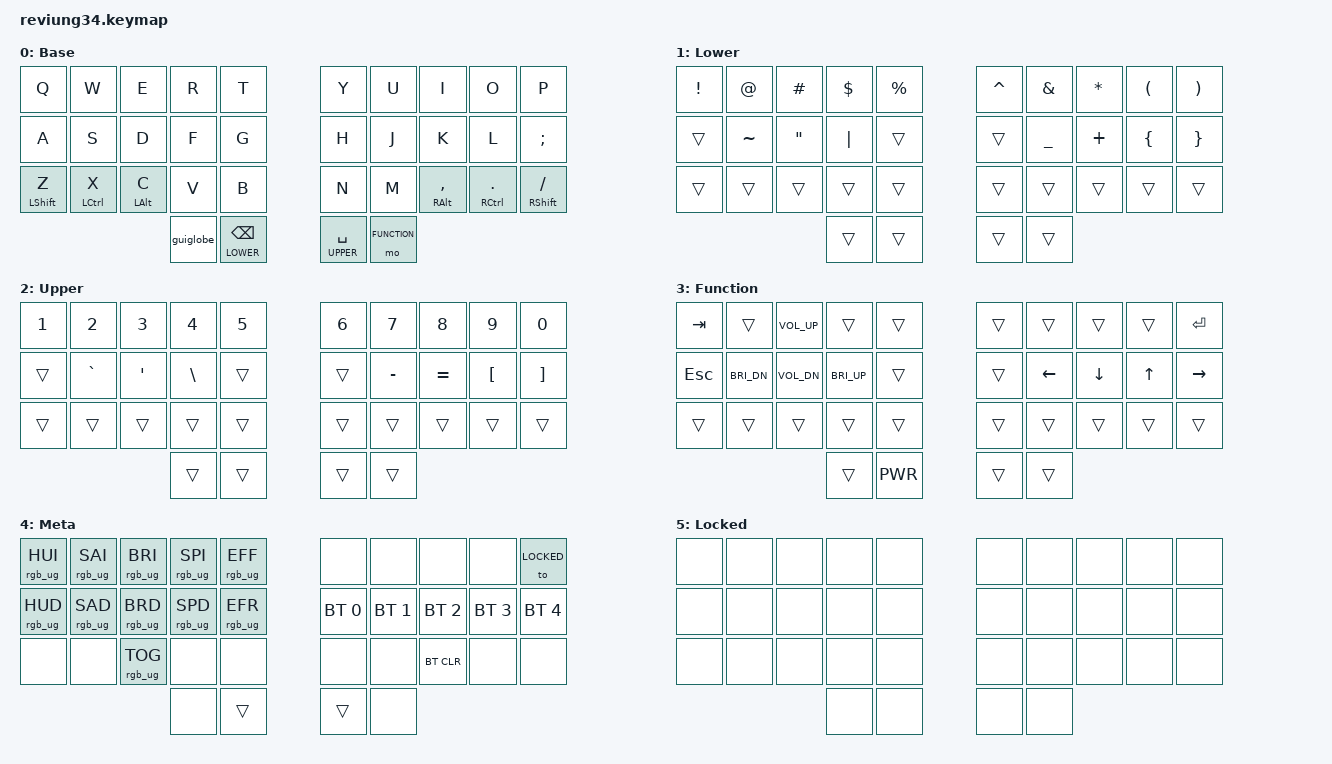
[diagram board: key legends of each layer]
#include <dt-bindings/zmk/bt.h>
#include <dt-bindings/zmk/keys.h>
#include <dt-bindings/zmk/rgb.h>

#include "keymap.dtsi"

/ {
    UNLOCK_COMBO(<9 31 32>)

    keymap {
        compatible = "zmk,keymap";

        base {
            label = "Base";
            bindings = <
&kp Q       &kp W       &kp E      &kp R     &kp T          &kp Y           &kp U        &kp I          &kp O         &kp P
&kp A       &kp S       &kp D      &kp F     &kp G          &kp H           &kp J        &kp K          &kp L         &kp SEMI
&mt LSHFT Z &mt LCTRL X &mt LALT C &kp V     &kp B          &kp N           &kp M        &mt RALT COMMA &mt RCTRL DOT &mt RSHFT SLASH
                                   &guiglobe &lt LOWER BSPC &lt UPPER SPACE &mo FUNCTION
            >;
        };

        lower {
            label = "Lower";
            bindings = <
&kp EXCL &kp AT    &kp HASH &kp DLLR &kp PRCNT &kp CARET &kp AMPS  &kp ASTRK &kp LPAR &kp RPAR
&trans   &kp TILDE &kp DQT  &kp PIPE &trans    &trans    &kp UNDER &kp PLUS  &kp LBRC &kp RBRC
&trans   &trans    &trans   &trans   &trans    &trans    &trans    &trans    &trans   &trans
                            &trans   &trans    &trans    &trans
            >;
        };

        upper {
            label = "Upper";
            bindings = <
&kp N1 &kp N2    &kp N3  &kp N4   &kp N5 &kp N6 &kp N7    &kp N8    &kp N9   &kp N0
&trans &kp GRAVE &kp SQT &kp BSLH &trans &trans &kp MINUS &kp EQUAL &kp LBKT &kp RBKT
&trans &trans    &trans  &trans   &trans &trans &trans    &trans    &trans   &trans
                         &trans   &trans &trans &trans
            >;
        };

        function {
            label = "Function";
            bindings = <
&kp TAB &trans       &kp C_VOL_UP &trans       &trans    &trans &trans   &trans   &trans &kp ENTER
&kp ESC &kp C_BRI_DN &kp C_VOL_DN &kp C_BRI_UP &trans    &trans &kp LEFT &kp DOWN &kp UP &kp RIGHT
&trans  &trans       &trans       &trans       &trans    &trans &trans   &trans   &trans &trans
                                  &trans       &kp C_PWR &trans &trans
            >;
        };

        meta {
            label = "Meta";
            bindings = <
&rgb_ug RGB_HUI &rgb_ug RGB_SAI &rgb_ug RGB_BRI &rgb_ug RGB_SPI &rgb_ug RGB_EFF &none        &none        &none        &none        &to LOCKED
&rgb_ug RGB_HUD &rgb_ug RGB_SAD &rgb_ug RGB_BRD &rgb_ug RGB_SPD &rgb_ug RGB_EFR &bt BT_SEL 0 &bt BT_SEL 1 &bt BT_SEL 2 &bt BT_SEL 3 &bt BT_SEL 4
&none           &none           &rgb_ug RGB_TOG &none           &none           &none        &none        &bt BT_CLR   &none        &none
                                &none           &trans          &trans          &none
            >;
        };

        locked {
            label = "Locked";
            bindings = <
&none &none &none &none &none &none &none &none &none &none
&none &none &none &none &none &none &none &none &none &none
&none &none &none &none &none &none &none &none &none &none
                  &none &none &none &none
            >;
        };
    };
};
